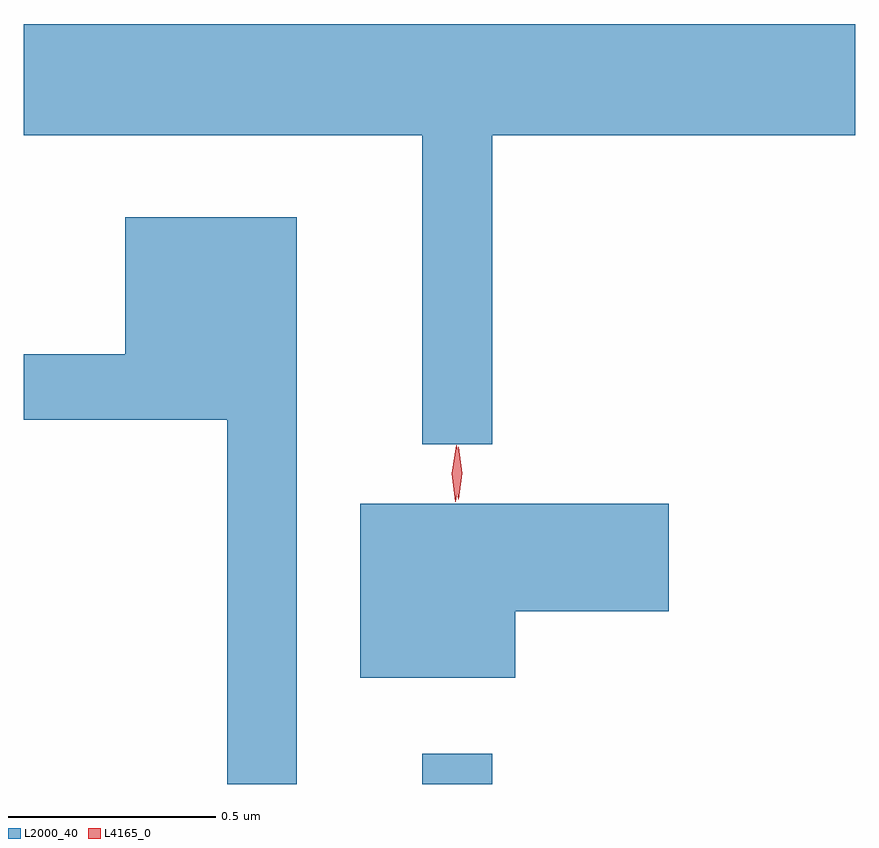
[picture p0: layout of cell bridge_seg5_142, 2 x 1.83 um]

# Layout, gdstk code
import gdstk
lib = gdstk.Library(unit=1e-6, precision=1e-09)
def R(c, l, rs):  # rectangles x0, y0, x1, y1
    for r in rs: c.add(gdstk.rectangle(r[:2], r[2:], *l))
def P(c, l, *ps):  # polygons
    for p in ps: c.add(gdstk.Polygon(p, *l))
L2000_40 = (2000, 40)
L4165_0 = (4165, 0)

bridge_seg5_142 = lib.new_cell('bridge_seg5_142')
R(bridge_seg5_142, L2000_40, [(1199.101,1450.795,1199.269,1450.868)])
P(bridge_seg5_142, L2000_40, [(1199.269,1452.356),(1200.142,1452.356),(1200.142,1452.624),(1198.142,1452.624),(1198.142,1452.356),(1199.101,1452.356),(1199.101,1451.613),(1199.269,1451.613)],
  [(1198.799,1452.159),(1198.386,1452.159),(1198.386,1451.829),(1198.142,1451.829),(1198.142,1451.671),(1198.631,1451.671),(1198.631,1450.795),(1198.799,1450.795)],
  [(1199.324,1451.211),(1199.694,1451.211),(1199.694,1451.469),(1198.951,1451.469),(1198.951,1451.051),(1199.324,1451.051)])
P(bridge_seg5_142, L4165_0, [(1199.18,1451.474),(1199.171,1451.542),(1199.182,1451.61),(1199.182,1451.61),(1199.183,1451.61),(1199.192,1451.542),(1199.181,1451.474),(1199.181,1451.474)],
  [(1199.187,1451.48),(1199.187,1451.48),(1199.177,1451.543),(1199.187,1451.606),(1199.187,1451.607),(1199.188,1451.606),(1199.197,1451.543),(1199.188,1451.48)])

lib.write_gds('bridge_seg5_142.gds')
